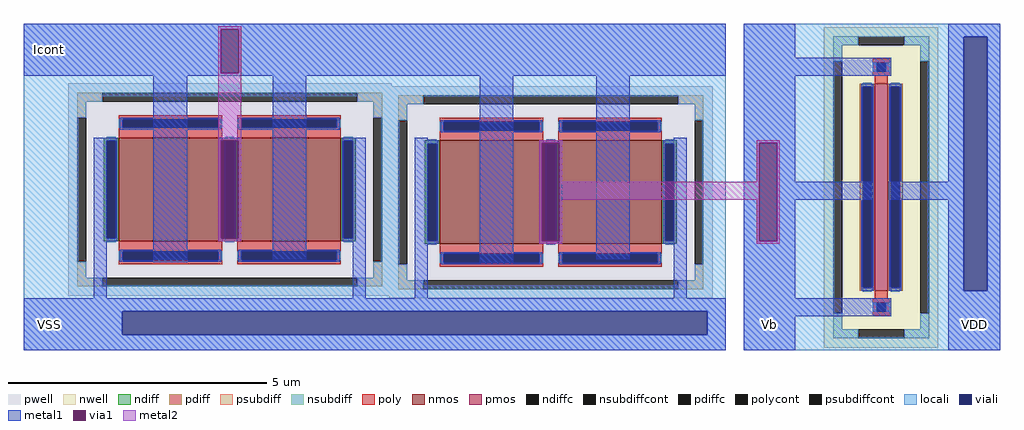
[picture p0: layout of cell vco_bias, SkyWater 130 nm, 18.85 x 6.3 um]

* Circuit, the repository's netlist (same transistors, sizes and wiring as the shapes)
** sch_path: /foss/designs/git/gbsha/tt08-analog-vco/xschem/vco_bias.sch
.subckt vco_bias VDD VSS Icont Vb
*.PININFO VDD:B VSS:B Icont:I Vb:O
XM1 Icont Icont VSS VSS sky130_fd_pr__nfet_01v8 L=2 W=4 nf=2 m=1
XM2 Vb Icont VSS VSS sky130_fd_pr__nfet_01v8 L=2 W=4 nf=2 m=1
XM3 Vb Vb VDD VDD sky130_fd_pr__pfet_01v8 L=0.25 W=4 nf=1 m=1
.ends
.end

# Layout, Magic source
magic
tech sky130A
magscale 1 2
<< locali >>
rect 520 -80 3230 200
rect 520 -810 730 -80
rect 1900 -810 1970 -80
rect 3140 -810 3230 -80
rect 520 -910 3230 -810
rect 520 -1000 900 -910
rect 3160 -1000 3230 -910
rect 520 -1060 3230 -1000
rect 3300 150 4290 200
rect 3300 -1010 3650 150
rect 4010 -830 4150 150
rect 4240 -830 4290 150
rect 4010 -1010 4290 -830
rect 3300 -1060 4290 -1010
<< viali >>
rect 900 -1000 3160 -910
rect 4150 -830 4240 150
<< metal1 >>
rect 520 180 3230 200
rect 520 10 1280 180
rect 1350 10 3230 180
rect 520 0 3230 10
rect 3300 70 3500 200
rect 4090 150 4290 200
rect 3300 0 3870 70
rect 790 -860 840 -240
rect 1020 -720 1150 0
rect 1270 -250 1360 -240
rect 1270 -630 1280 -250
rect 1350 -630 1360 -250
rect 1270 -640 1360 -630
rect 1480 -710 1610 0
rect 1790 -860 1840 -240
rect 2030 -860 2080 -240
rect 2280 -720 2410 0
rect 2510 -260 2600 -250
rect 2510 -640 2520 -260
rect 2590 -640 2600 -260
rect 2510 -650 2600 -640
rect 2730 -710 2860 0
rect 3030 -860 3080 -240
rect 3300 -260 3500 0
rect 3300 -640 3360 -260
rect 3430 -410 3500 -260
rect 4090 -410 4150 150
rect 3430 -480 3800 -410
rect 3860 -480 4150 -410
rect 3430 -640 3500 -480
rect 3300 -860 3500 -640
rect 4090 -830 4150 -480
rect 4240 -830 4290 150
rect 520 -910 3230 -860
rect 520 -1000 900 -910
rect 3160 -1000 3230 -910
rect 520 -1060 3230 -1000
rect 3300 -930 3870 -860
rect 3300 -1060 3500 -930
rect 4090 -1060 4290 -830
<< via1 >>
rect 1280 10 1350 180
rect 1280 -630 1350 -250
rect 2520 -640 2590 -260
rect 3360 -640 3430 -260
<< metal2 >>
rect 1270 180 1360 190
rect 1270 10 1280 180
rect 1350 10 1360 180
rect 1270 -250 1360 10
rect 1270 -630 1280 -250
rect 1350 -630 1360 -250
rect 1270 -640 1360 -630
rect 2510 -260 2600 -250
rect 2510 -640 2520 -260
rect 2590 -410 2600 -260
rect 3350 -260 3440 -250
rect 3350 -410 3360 -260
rect 2590 -480 3360 -410
rect 2590 -640 2600 -480
rect 2510 -650 2600 -640
rect 3350 -640 3360 -480
rect 3430 -640 3440 -260
rect 3350 -650 3440 -640
use sky130_fd_pr__nfet_01v8_XVWV9B  XM1
transform 1 0 1315 0 1 -440
box -625 -410 625 410
use sky130_fd_pr__nfet_01v8_XVWV9B  XM2
transform 1 0 2555 0 1 -450
box -625 -410 625 410
use sky130_fd_pr__pfet_01v8_NDBSV3  XM3
transform 1 0 3831 0 1 -431
box -221 -619 221 619
<< labels >>
flabel metal1 520 -1060 720 -860 0 FreeSans 256 0 0 0 VSS
port 1 nsew
flabel metal1 520 0 720 200 0 FreeSans 256 0 0 0 Icont
port 2 nsew
flabel metal1 3300 -1060 3500 -860 0 FreeSans 256 0 0 0 Vb
port 3 nsew
flabel metal1 4090 -1060 4290 -860 0 FreeSans 256 0 0 0 VDD
port 0 nsew
<< end >>

# cell sky130_fd_pr__nfet_01v8_XVWV9B: kit device sky130_fd_pr__nfet_01v8, w 2.0 l 2.0 m 1 nf 2 diffcov 100 polycov 100 guard 1 glc 1 grc 1 gtc 1 gbc 1 tbcov 100 rlcov 100 topc 1 botc 1 poverlap 0 doverlap 1 lmin 0.15 wmin 0.42 compatible {sky130_fd_pr__nfet_01v8 sky130_fd_pr__nfet_01v8_lvt sky130_fd_bs_flash__special_sonosfet_star sky130_fd_pr__nfet_g5v0d10v5 sky130_fd_pr__nfet_05v0_nvt sky130_fd_pr__nfet_03v3_nvt} full_metal 1 viasrc 100 viadrn 100 viagate 100 viagb 0 viagr 0 viagl 0 viagt 0

# cell sky130_fd_pr__pfet_01v8_NDBSV3: kit device sky130_fd_pr__pfet_01v8, w 4.0 l 0.25 m 1 nf 1 diffcov 100 polycov 100 guard 1 glc 1 grc 1 gtc 1 gbc 1 tbcov 100 rlcov 100 topc 1 botc 1 poverlap 0 doverlap 1 lmin 0.15 wmin 0.42 compatible {sky130_fd_pr__pfet_01v8 sky130_fd_pr__pfet_01v8_lvt sky130_fd_pr__pfet_01v8_hvt sky130_fd_pr__pfet_g5v0d10v5} full_metal 1 viasrc 100 viadrn 100 viagate 100 viagb 0 viagr 0 viagl 0 viagt 0
